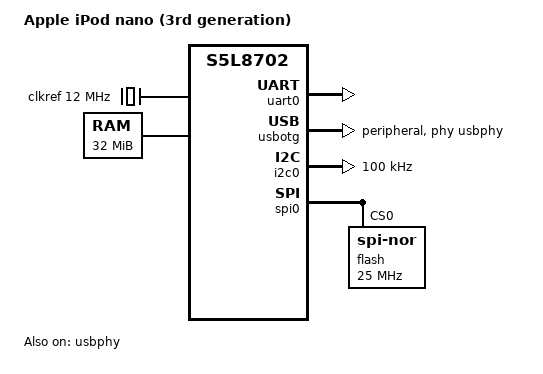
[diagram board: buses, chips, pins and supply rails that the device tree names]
// SPDX-License-Identifier: GPL-2.0+
/*
 * Apple iPod nano 3rd generation (n3g)
 * SoC: Samsung/Apple S5L8702 (ARM926EJ-S)
 */
/dts-v1/;

/ {
	#address-cells = <1>;
	#size-cells = <1>;
	model = "Apple iPod nano (3rd generation)";
	compatible = "apple,n3g", "samsung,s5l8702";

	aliases {
		serial0 = &uart0;
	};

	chosen {
		stdout-path = "serial0:57600n8";
	};

	/* Crystal reference: 12 MHz */
	clkref: clock-ref {
		compatible = "fixed-clock";
		#clock-cells = <0>;
		clock-frequency = <12000000>;
		clock-output-names = "clkref";
	};

	cpus {
		#address-cells = <1>;
		#size-cells = <0>;

		cpu@0 {
			device_type = "cpu";
			compatible = "arm,arm926ej-s";
			reg = <0>;
		};
	};

	memory@8000000 {
		device_type = "memory";
		/* 32 MB SDRAM */
		reg = <0x08000000 0x02000000>;
	};

	soc {
		compatible = "simple-bus";
		#address-cells = <1>;
		#size-cells = <1>;
		ranges;

		vic0: interrupt-controller@38e00000 {
			compatible = "arm,pl192-vic";
			interrupt-controller;
			reg = <0x38e00000 0x1000>;
			#interrupt-cells = <1>;
		};

		vic1: interrupt-controller@38e01000 {
			compatible = "arm,pl192-vic";
			interrupt-controller;
			reg = <0x38e01000 0x1000>;
			#interrupt-cells = <1>;
		};

		timer: timer@3c700000 {
			compatible = "samsung,s5l8702-timer";
			reg = <0x3c700000 0x20000>;
			interrupt-parent = <&vic0>;
			interrupts = <7>;
		};

		uart0: serial@3cc00000 {
			compatible = "apple,s5l-uart";
			reg = <0x3cc00000 0x4000>;
			reg-io-width = <4>;
			clocks = <&clkref>, <&clkref>;
			clock-names = "uart", "clk_uart_baud0";
			interrupt-parent = <&vic0>;
			interrupts = <24>;
			status = "okay";
		};

		usbphy: usbphy@3c400000 {
			compatible = "apple,s5l8702-otgphy";
			reg = <0x3c400000 0x100>;
			status = "okay";
			#phy-cells = <0>;
		};

		usbotg: usb@38400000 {
			compatible = "apple,s5l87xx-usb";
			reg = <0x38400000 0x40000>;
			interrupt-parent = <&vic0>;
			interrupts = <19>;
			phys = <&usbphy>;
			phy-names = "usb2-phy";
			clocks = <&clkref>;
			clock-names = "otg";
			g-rx-fifo-size = <256>;
			g-np-tx-fifo-size = <32>;
			g-tx-fifo-size = <256 256 512 512 512 768 768>;
			dr_mode = "peripheral";
			status = "okay";
		};

		i2c0: i2c@3c600000 {
			compatible = "samsung,s5l8702-i2c";
			reg = <0x3c600000 0x100>;
			clock-frequency = <100000>;
			interrupt-parent = <&vic0>;
			interrupts = <21>;
			status = "okay";
		};

		/*
		 * SPI0: boot NOR flash (SST25-series, 4 MB).
		 * CS is controlled manually via GPIOCMD; no cs-gpios needed.
		 * Clock divider is fixed at 4 (PClk/5) by the driver.
		 */
		spi0: spi@3c300000 {
			compatible = "apple,s5l8702-spi";
			reg = <0x3c300000 0x50>;
			#address-cells = <1>;
			#size-cells = <0>;
			status = "okay";

			flash@0 {
				compatible = "jedec,spi-nor";
				reg = <0>;
				spi-max-frequency = <25000000>;
			};
		};
	};
};
